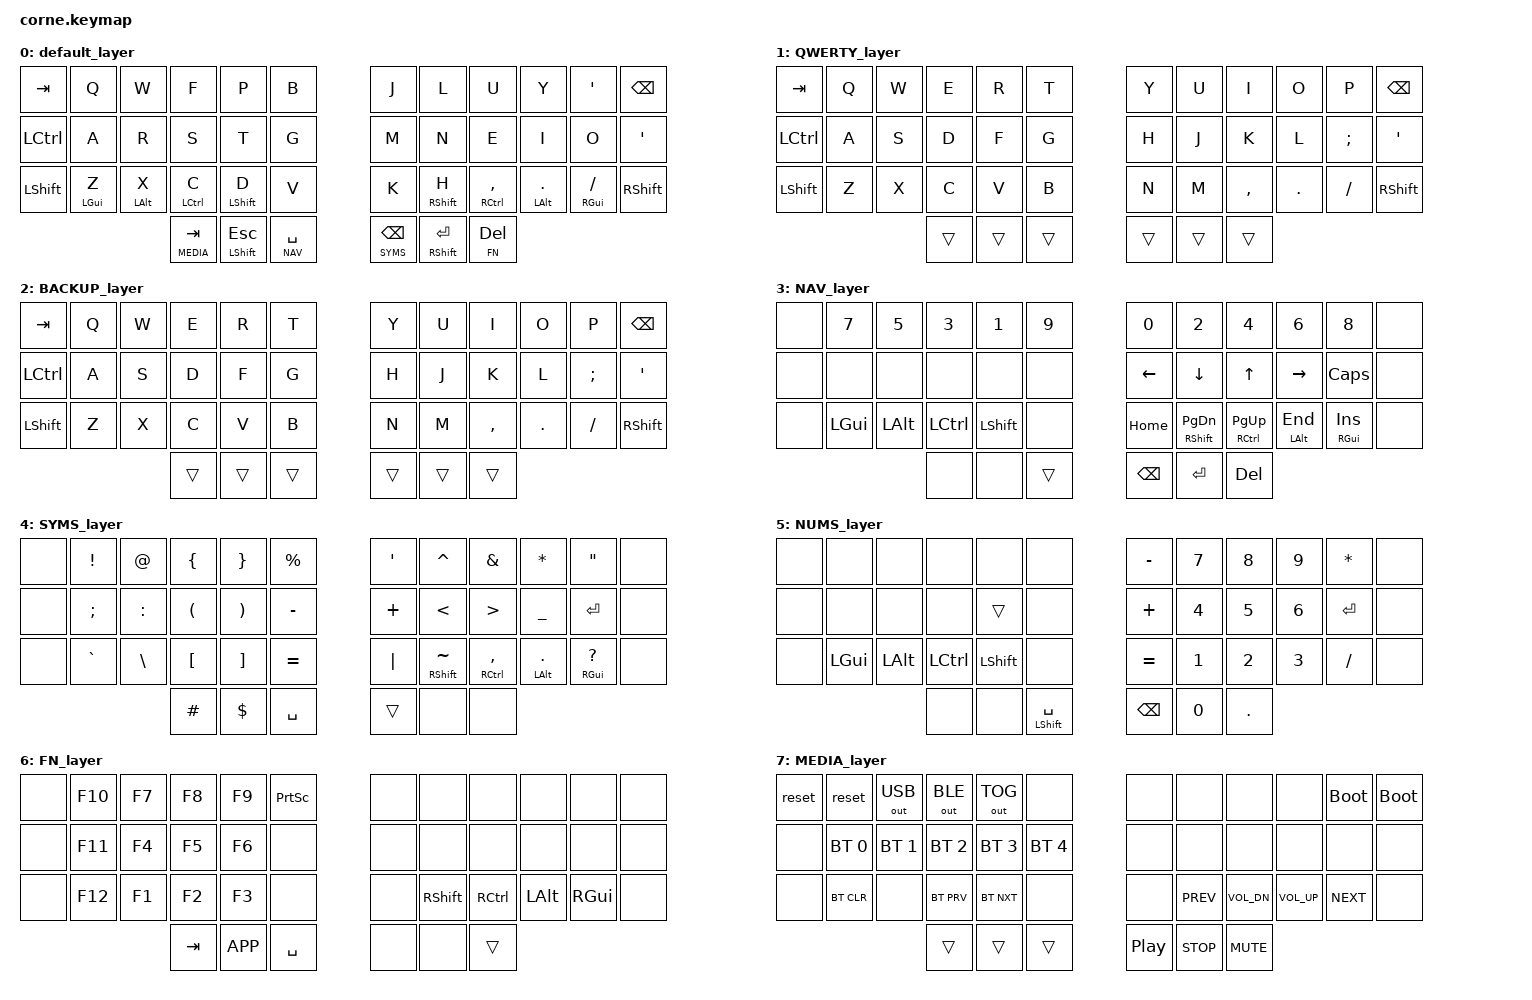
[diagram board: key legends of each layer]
/*
 * Copyright (c) 2020 The ZMK Contributors
 *
 * SPDX-License-Identifier: MIT
 */

#include <behaviors.dtsi>
#include <dt-bindings/zmk/keys.h>
#include <dt-bindings/zmk/bt.h>
#include <dt-bindings/zmk/outputs.h>

#define DEFAULT 0
#define QWERTY  1
#define BACKUP  2
#define NAV     3
#define SYMS    4
#define NUMS    5
#define FN      6
#define MEDIA   7

/ {
    behaviors {
        #include "macros.dtsi"

        hm: homerow_mods {
            compatible = "zmk,behavior-hold-tap";
            label = "HOMEROW_MODS";
            #binding-cells = <2>;
            tapping-term-ms = <150>;
            quick_tap_ms = <0>;
            flavor = "tap-preferred";
            bindings = <&kp>, <&kp>;
        };
    };
    combos {
        compatible = "zmk,combos";
        combo_esc {
            timeout-ms = <50>;
            key-positions = <1 2>;
            bindings = <&kp ESC>;
        };
        combo_tab {
          timeout-ms = <50>;
          key-positions = <13 14>;
          bindings = <&kp TAB>;
        };
        combo_question {
          timeout-ms = <50>;
          key-positions = <19 20>;
          bindings = <&kp QMARK>;
        };
        combo_dqt {
          timeout-ms = <50>;
          key-positions = <20 21>;
          bindings = <&kp DQT>;
        };

        combo_brace {
          timeout-ms = <50>;
          key-positions = <3 4>;
          bindings = <&macro_braces>;
        };
        combo_angle_bracket {
          timeout-ms = <50>;
          key-positions = <7 8>;
          bindings = <&macro_angle_brackets>;
        };
        combo_dqts {
          timeout-ms = <50>;
          key-positions = <8 9>;
          bindings = <&macro_dqt>;
        };
        combo_sqts {
          timeout-ms = <50>;
          key-positions = <9 10>;
          bindings = <&macro_sqt>;
        };
        combo_par {
          timeout-ms = <50>;
          key-positions = <15 16>;
          bindings = <&macro_parentheses>;
        };
        combo_bracket {
            timeout-ms = <50>;
            key-positions = <27 28>;
            bindings = <&macro_brackets>;
        };
    };
        keymap {
                compatible = "zmk,keymap";

                default_layer {
                        bindings = <
   &kp TAB   &kp Q &kp W &kp F &kp P &kp B   &kp J &kp L  &kp U     &kp Y   &kp SQT  &kp BSPC
   &kp LCTRL &kp A &kp R &kp S &kp T &kp G   &kp M &kp N  &kp E     &kp I   &kp O &kp SQT
   &kp LSHFT &hm LGUI Z &hm LALT X &hm LCTRL C &hm LSHFT D &kp V   &kp K &hm RSHFT H  &hm RCTRL COMMA &hm LALT DOT &hm RGUI FSLH &kp RSHFT
                  &lt MEDIA TAB &mt LSHFT ESC &lt NAV SPACE   &lt SYMS BSPC &mt RSHFT RET &lt FN DEL
                        >;
                };

                QWERTY_layer {
// -----------------------------------------------------------------------------------------
// |  TAB |  Q  |  W  |  E  |  R  |  T  |   |  Y  |  U   |  I  |  O  |  P  | BKSP |
// | CTRL |  A  |  S  |  D  |  F  |  G  |   |  H  |  J   |  K  |  L  |  ;  |  '   |
// | SHFT |  Z  |  X  |  C  |  V  |  B  |   |  N  |  M   |  ,  |  .  |  /  | SHFT |
//                    | GUI | LWR | SPC |   | ENT | RSE  | ALT |
                        bindings = <
   &kp TAB   &kp Q &kp W &kp E &kp R &kp T   &kp Y &kp U  &kp I     &kp O   &kp P    &kp BSPC
   &kp LCTRL &kp A &kp S &kp D &kp F &kp G   &kp H &kp J  &kp K     &kp L   &kp SEMI &kp SQT
   &kp LSHFT &kp Z &kp X &kp C &kp V &kp B   &kp N &kp M  &kp COMMA &kp DOT &kp FSLH &kp RSHFT
                  &trans &trans &trans   &trans &trans &trans
                        >;
                };

                BACKUP_layer {
// -----------------------------------------------------------------------------------------
// |  TAB |  Q  |  W  |  E  |  R  |  T  |   |  Y  |  U   |  I  |  O  |  P  | BKSP |
// | CTRL |  A  |  S  |  D  |  F  |  G  |   |  H  |  J   |  K  |  L  |  ;  |  '   |
// | SHFT |  Z  |  X  |  C  |  V  |  B  |   |  N  |  M   |  ,  |  .  |  /  | SHFT |
//                    | GUI | LWR | SPC |   | ENT | RSE  | ALT |
                        bindings = <
   &kp TAB   &kp Q &kp W &kp E &kp R &kp T   &kp Y &kp U  &kp I     &kp O   &kp P    &kp BSPC
   &kp LCTRL &kp A &kp S &kp D &kp F &kp G   &kp H &kp J  &kp K     &kp L   &kp SEMI &kp SQT
   &kp LSHFT &kp Z &kp X &kp C &kp V &kp B   &kp N &kp M  &kp COMMA &kp DOT &kp FSLH &kp RSHFT
                  &trans &trans &trans   &trans &trans &trans
                        >;
                };

                NAV_layer {
// -----------------------------------------------------------------------------------------
// |  ESC |  1  |  2  |  3  |  4  |  5  |   |  6  |  7  |  8  |  9  |  0  | BKSP |
// | BTCLR|     |     |     |     |     |   | LFT | DWN |  UP | RGT |     |      |
// | SHFT |     |     |     |     |     |   | HOM | PDN | PUP | END |     |      |
//                    | GUI |     | SPC |   | ENT |     | ALT |
                        bindings = <
   &none  &kp N7  &kp N5  &kp N3  &kp N1  &kp N9                 &kp N0   &kp N2   &kp N4 &kp N6  &kp N8 &none
   &none  &none  &none  &none  &none  &none                 &kp LEFT &kp DOWN &kp UP &kp RIGHT &kp CAPS &none
   &none  &kp LGUI  &kp LALT  &kp LCTRL  &kp LSHFT  &none       &kp HOME &hm RSHFT PG_DN &hm RCTRL PG_UP &hm LALT END &hm RGUI INS &none
                             &none   &none  &trans                 &kp BSPC &kp RET  &kp DEL
                        >;
                };

                SYMS_layer {
// -----------------------------------------------------------------------------------------
// |  ESC |  !  |  @  |  {  |  }  |  %  |   |  '  |  ^  |  &  |  *  |  "  | BKSP |
// | CTRL |  ;  |  :  |  (  |  )  |  -  |   |  +  |  <  |  >  |  _  | RET |  NO   |
// | SHFT |  `  |  \  |  [  |  ]  |  =  |   |  |  |  ~  |  ,  |  .  |  ?  |  ~   | // TODO: Fix this row when &mkp is committed
//                    |  $  |  #  | SPC |   |     |     |     |
                        bindings = <
   &none  &kp EXCL  &kp AT     &kp LBRC  &kp RBRC &kp PRCNT       &kp SQT   &kp CARET  &kp AMPS  &kp STAR  &kp DQT &none
   &none &kp SEMI  &kp COLON  &kp LPAR  &kp RPAR &kp MINUS       &kp PLUS  &kp LT     &kp GT    &kp UNDER &kp RET &none
   &none &kp GRAVE &kp BSLH   &kp LBKT  &kp RBKT &kp EQUAL       &kp PIPE   &hm RSHFT TILDE &hm RCTRL COMMA &hm LALT DOT &hm RGUI QMARK &none
                                  &kp HASH  &kp DLLR &kp SPACE       &trans    &none     &none
                        >;
                };

                NUMS_layer {
// -----------------------------------------------------------------------------------------
// |  ESC |     |     |     |     |     |   |  -  |  7  |  8  |  9  |  *  | BKSP |
// | CTRL |     |     |     |     |     |   |  +  |  4  |  5  |  6  | RET |  `   |
// | SHFT |     |     |     |     |     |   |  =  |  1  |  2  |  3  |  /  |  ~   | // TODO: Fix this row when &mkp is committed
//                    |     | LSH | SPC |   | BSP |  0  |  .  |
                        bindings = <
   &none &none &none &none &none &none                   &kp MINUS &kp N7 &kp N8 &kp N9 &kp STAR &none 
   &none &none &none &none &trans &none                   &kp PLUS  &kp N4 &kp N5 &kp N6 &kp RET &none 
   &none &kp LGUI  &kp LALT  &kp LCTRL  &kp LSHFT &none      &kp EQUAL &kp N1 &kp N2 &kp N3 &kp FSLH &none 
                                   &none &none &mt LSHFT SPACE   &kp BKSP &kp N0 &kp DOT
                        >;
                };

                FN_layer {
// -----------------------------------------------------------------------------------------
// |  ESC |  !  |  @  |  #  |  $  |  %  |   |  ^  |  &  |  *  |  (  |  )  | BKSP |
// | CTRL |     |     |     |     |     |   |  -  |  =  |  {  |  }  | "|" |  `   |
// | SHFT |     |     |     |     |     |   |  _  |  +  |  [  |  ]  |  \  |  ~   | // TODO: Fix this row when &mkp is committed
//                    | GUI |     | SPC |   | ENT |     | ALT |
                        bindings = <
   &none &kp F10 &kp F7 &kp F8 &kp F9 &kp PSCRN &none &none &none &none &none &none 
   &none &kp F11 &kp F4 &kp F5 &kp F6 &none &none &none &none &none &none &none 
   &none &kp F12 &kp F1 &kp F2 &kp F3 &none &none &kp RSHFT &kp RCTRL &kp LALT &kp RGUI &none 
                                   &kp TAB &kp K_APP &kp SPACE   &none &none &trans
                        >;
                };

                MEDIA_layer {
// -----------------------------------------------------------------------------------------
// |  ESC |  RS | USB |  BT | TOG |     |   |     |     |     |     |     | BKSP |
// | CTRL | BT0 | BT1 | BT2 | BT3 | BT4 |   |     |     |     |     |     |  `   |
// | SHFT | BTC |     |  BV |  BN |     |   |     | PRV | VDN | VUP | NXT |  ~   | // TODO: Fix this row when &mkp is committed
//                    |     |     |     |   | PLA | STP | MTE |
                        bindings = <
   &reset &reset &out OUT_USB &out OUT_BLE &out OUT_TOG &none &none &none &none &none &bootloader &bootloader 
   &none &bt BT_SEL 0 &bt BT_SEL 1 &bt BT_SEL 2 &bt BT_SEL 3 &bt BT_SEL 4 &none &none &none &none &none &none 
   &none &bt BT_CLR &none &bt BT_PRV &bt BT_NXT &none &none &kp C_PREV &kp C_VOL_DN &kp C_VOL_UP &kp C_NEXT &none 
                               &trans &trans &trans &kp C_PP &kp C_STOP &kp C_MUTE 
                        >;
                };
        };
};
